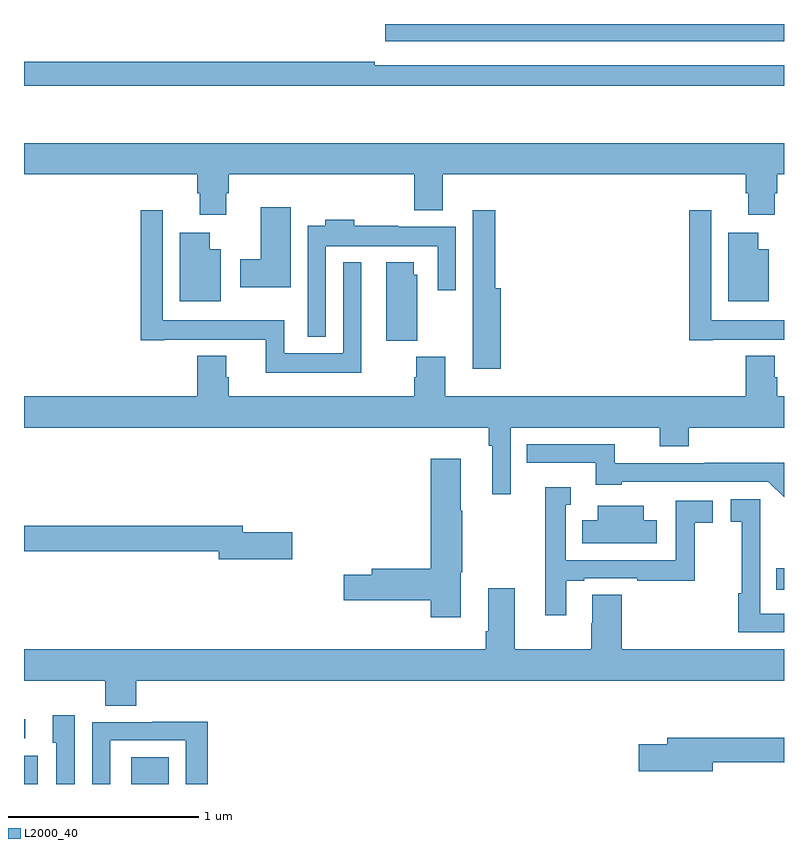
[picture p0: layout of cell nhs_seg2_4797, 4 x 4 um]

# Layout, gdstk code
import gdstk
lib = gdstk.Library(unit=1e-6, precision=1e-09)
def R(c, l, rs):  # rectangles x0, y0, x1, y1
    for r in rs: c.add(gdstk.rectangle(r[:2], r[2:], *l))
def P(c, l, *ps):  # polygons
    for p in ps: c.add(gdstk.Polygon(p, *l))
L2000_40 = (2000, 40)

nhs_seg2_4797 = lib.new_cell('nhs_seg2_4797')
R(nhs_seg2_4797, L2000_40, [(373,605.8,373.072,605.95), (373.565,605.8,373.762,605.941), (373,606.042,373.006,606.14), (376.96,606.822,377,606.935), (374.9,609.708,377,609.8)])
P(nhs_seg2_4797, L2000_40, [(377,609.582),(374.846,609.582),(374.846,609.602),(373,609.602),(373,609.474),(377,609.474)],
  [(374.065,608.91),(374.078,608.91),(374.078,609.008),(375.053,609.008),(375.053,608.819),(375.205,608.819),(375.205,609.008),(376.799,609.008),(376.799,608.91),(376.811,608.91),(376.811,608.796),(376.951,608.796),(376.951,608.91),(376.964,608.91),(376.964,609.008),(377,609.008),(377,609.172),(373,609.172),(373,609.008),(373.913,609.008),(373.913,608.91),(373.925,608.91),(373.925,608.796),(374.065,608.796)],
  [(374.404,608.836),(374.246,608.836),(374.246,608.562),(374.139,608.562),(374.139,608.414),(374.404,608.414)],
  [(374.776,608.545),(374.679,608.545),(374.679,608.068),(374.37,608.068),(374.37,608.242),(373.731,608.242),(373.731,608.821),(373.615,608.821),(373.615,608.136),(373.738,608.136),(373.738,608.138),(374.273,608.138),(374.273,607.964),(374.776,607.964)],
  [(375.509,608.41),(375.479,608.41),(375.479,608.821),(375.363,608.821),(375.363,608.306),(375.362,608.306),(375.362,607.986),(375.509,607.986)],
  [(376.624,608.138),(377,608.138),(377,608.242),(376.617,608.242),(376.617,608.821),(376.501,608.821),(376.501,608.136),(376.624,608.136)],
  [(374.589,608.63),(375.177,608.63),(375.177,608.4),(375.273,608.4),(375.273,608.734),(374.969,608.734),(374.969,608.737),(374.738,608.737),(374.738,608.77),(374.585,608.77),(374.585,608.737),(374.493,608.737),(374.493,608.153),(374.589,608.153)],
  [(376.921,608.614),(376.864,608.614),(376.864,608.701),(376.706,608.701),(376.706,608.342),(376.921,608.342)],
  [(374.035,608.614),(373.978,608.614),(373.978,608.701),(373.82,608.701),(373.82,608.342),(374.035,608.342)],
  [(375.07,608.481),(375.052,608.481),(375.052,608.545),(374.906,608.545),(374.906,608.134),(375.07,608.134)],
  [(375.561,607.676),(376.346,607.676),(376.346,607.577),(376.499,607.577),(376.499,607.676),(377,607.676),(377,607.84),(376.964,607.84),(376.964,607.941),(376.951,607.941),(376.951,608.053),(376.799,608.053),(376.799,607.84),(375.218,607.84),(375.218,608.049),(375.065,608.049),(375.065,607.94),(375.053,607.94),(375.053,607.84),(374.078,607.84),(374.078,607.941),(374.065,607.941),(374.065,608.053),(373.913,608.053),(373.913,607.84),(373,607.84),(373,607.676),(375.445,607.676),(375.445,607.58),(375.464,607.58),(375.464,607.326),(375.561,607.326)],
  [(377,607.49),(376.582,607.49),(376.582,607.488),(376.11,607.488),(376.11,607.587),(375.646,607.587),(375.646,607.491),(376.01,607.491),(376.01,607.376),(376.146,607.376),(376.146,607.392),(376.917,607.392),(377,607.309)],
  [(375.298,606.915),(375.306,606.915),(375.306,607.238),(375.298,607.238),(375.298,607.513),(375.14,607.513),(375.14,606.932),(374.831,606.932),(374.831,606.902),(374.682,606.902),(374.682,606.767),(375.14,606.767),(375.14,606.678),(375.298,606.678)],
  [(375.853,606.87),(375.949,606.87),(375.949,606.882),(376.228,606.882),(376.228,606.87),(376.53,606.87),(376.53,607.174),(376.624,607.174),(376.624,607.29),(376.431,607.29),(376.431,606.978),(375.852,606.978),(375.852,607.269),(375.877,607.269),(375.877,607.363),(375.744,607.363),(375.744,606.931),(375.743,606.931),(375.743,606.687),(375.853,606.687)],
  [(377,606.696),(376.875,606.696),(376.875,607.024),(376.876,607.024),(376.876,607.3),(376.719,607.3),(376.719,607.179),(376.777,607.179),(376.777,606.803),(376.759,606.803),(376.759,606.6),(377,606.6)],
  [(376.33,607.189),(376.261,607.189),(376.261,607.264),(376.019,607.264),(376.019,607.189),(375.937,607.189),(375.937,607.067),(376.33,607.067)],
  [(374.413,607.124),(374.152,607.124),(374.152,607.16),(373,607.16),(373,607.024),(374.024,607.024),(374.024,606.982),(374.413,606.982)],
  [(373.592,606.344),(377,606.344),(377,606.508),(376.145,606.508),(376.145,606.797),(375.992,606.797),(375.992,606.647),(375.985,606.647),(375.985,606.508),(375.583,606.508),(375.583,606.829),(375.443,606.829),(375.443,606.604),(375.431,606.604),(375.431,606.508),(373,606.508),(373,606.344),(373.427,606.344),(373.427,606.211),(373.592,606.211)],
  [(373.266,606.163),(373.151,606.163),(373.151,606.018),(373.17,606.018),(373.17,605.8),(373.266,605.8)],
  [(373.455,606.03),(373.851,606.03),(373.851,605.8),(373.967,605.8),(373.967,606.128),(373.675,606.128),(373.675,606.126),(373.359,606.126),(373.359,605.8),(373.455,605.8)],
  [(376.624,605.914),(377,605.914),(377,606.043),(376.385,606.043),(376.385,606.009),(376.236,606.009),(376.236,605.867),(376.624,605.867)])

lib.write_gds('nhs_seg2_4797.gds')
